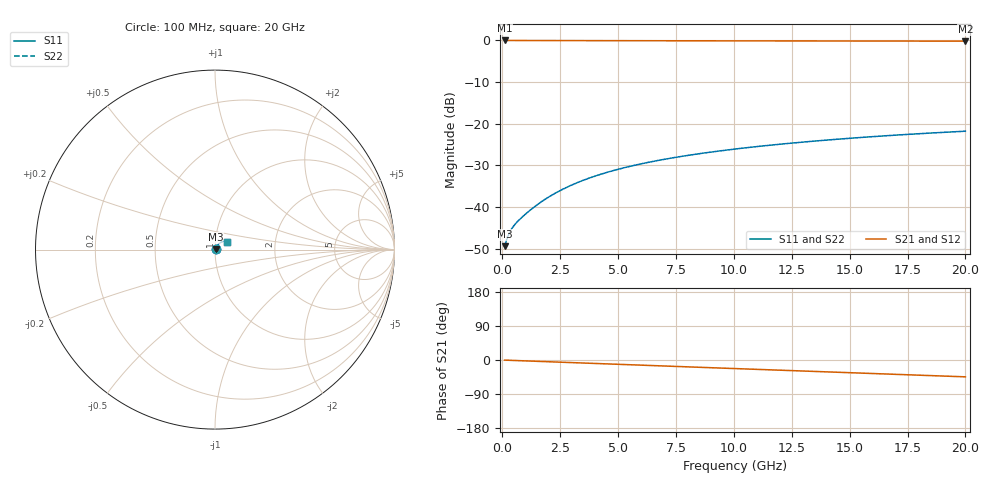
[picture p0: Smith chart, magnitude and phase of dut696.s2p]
! Touchstone file exported from HFSS 2026.1.0
!  File:  C:/ffzhzh/LocalFiles/Ansys_Project_Files/temp_train_BSMRDL_696_1783017799_46388.aedt
!  Generated:  02:44:35 AM Jul  3, 2026
!  Design:  BSMRDL
!  Project:  temp_train_BSMRDL_696_1783017799_46388
! Variables:
!  h_bsmrdl = 3.9um
!  h_ox = 20um
!  h_rdl = 5um
!  h_sub = 80um
!  h_tmrdl = 5um
!  h_tsv = 80um
!  h_via = 3um
!  l_bsmrdl = 786.32um
!  l_sub = 1186.32um
!  l_tmrdl = 200um
!  m_sub = 200um
!  pitch = 31.35um
!  r_tsv = 6um
!  s_tmrdl = 10um
!  w_bsmrdl = 24.93um
!  w_sub = 500um
!  w_tmrdl = 12um
!  x_tsv_center1 = 206um
!  x_tsv_center2 = 1017.25um
!  x_tsv_center3 = 1229.25um
!  x_tsv_center4 = 2040.5um
!  x_tsv_center5 = 2252.5um
!  x_tsv_center6 = 3063.75um
# GHz S MA R 50.000000
! Terminal data exported
! Port[1] = BSM_RDL1_1_T1
! Port[2] = BSM_RDL1_1_T2
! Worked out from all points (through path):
!   200 points, 100 MHz to 20 GHz, reference 50 ohm
!   highest |S21| = -0.03 dB at 100 MHz (marker M1); lowest = -0.2 dB at 20 GHz (marker M2)
!   group delay of S21, straight-line fit = 6.15 ps
!   lowest |S11| = -49.4 dB at 100 MHz (marker M3), VSWR 1.01, Z = 50.3 + j0.117 ohm
!   |S11| at or under -10 dB: start of sweep to end of sweep
!   |S22| runs from -49.4 to -21.8 dB; largest |S21 - S12| = 3.1e-15
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0.1  0.003386 20.1  0.9968 -0.3  0.9968 -0.3  0.003386 20.1
! Gamma 0 0 0 0
! Port Impedance 50 0 50 0
0.2  0.004155 30.1  0.9964 -0.5  0.9964 -0.5  0.004155 30.1
0.3  0.004871 34.5  0.996 -0.8  0.996 -0.8  0.004873 34.6
0.4  0.005462 37.2  0.9957 -1.0  0.9957 -1.0  0.005466 37.3
0.5  0.005966 39.5  0.9955 -1.2  0.9955 -1.2  0.005973 39.5
0.7  0.00687 43.7  0.9952 -1.7  0.9952 -1.7  0.006878 43.8
1.1  0.00867 50.9  0.9949 -2.6  0.9949 -2.6  0.008678 50.9
1.6  0.0111 56.7  0.9945 -3.7  0.9945 -3.7  0.01111 56.6
1.9  0.01263 58.8  0.9943 -4.4  0.9943 -4.4  0.01264 58.8
2.2  0.01419 60.3  0.994 -5.1  0.994 -5.1  0.01419 60.3
2.8  0.01732 61.9  0.9935 -6.5  0.9935 -6.5  0.01732 61.8
3.5  0.02093 62.3  0.9928 -8.0  0.9928 -8.0  0.02094 62.3
4.2  0.02446 61.9  0.992 -9.6  0.992 -9.6  0.02447 61.9
5  0.02834 61.0  0.991 -11.4  0.991 -11.4  0.02836 61.0
5.9  0.03252 59.6  0.99 -13.4  0.99 -13.4  0.03254 59.6
6.8  0.03651 58.1  0.9889 -15.4  0.9889 -15.4  0.03654 58.1
8.3  0.04278 55.3  0.9873 -18.8  0.9873 -18.8  0.04282 55.3
10.1  0.04979 52.0  0.9855 -22.7  0.9855 -22.7  0.04985 52.0
11.7  0.05564 49.1  0.984 -26.3  0.984 -26.3  0.05572 49.0
13.4  0.06152 45.9  0.9826 -30.0  0.9826 -30.0  0.06163 45.8
16.7  0.07201 39.6  0.98 -37.2  0.98 -37.2  0.07217 39.5
20  0.0812 33.3  0.9778 -44.5  0.9778 -44.5  0.08142 33.1
